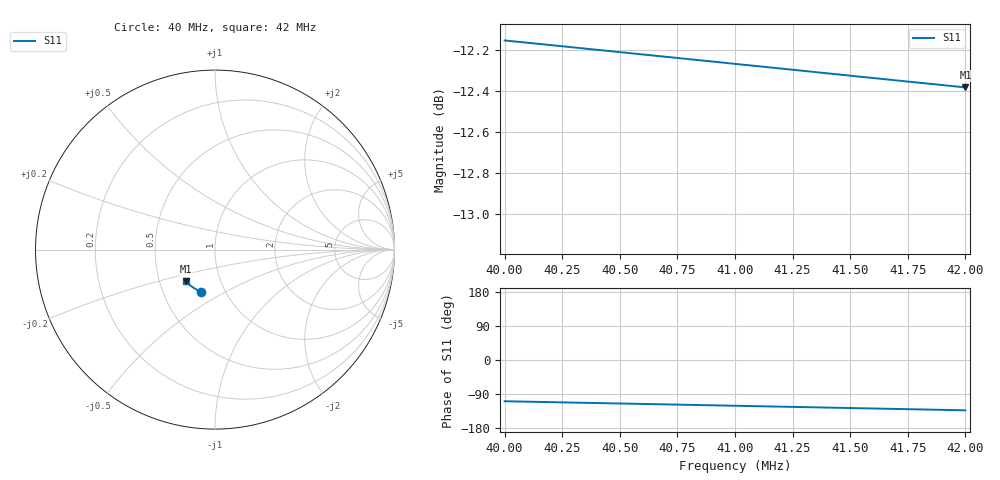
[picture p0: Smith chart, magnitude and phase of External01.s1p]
# Hz S RI R 50
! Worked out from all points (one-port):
!   9 points, 40 MHz to 42 MHz, reference 50 ohm
!   lowest |S11| = -12.4 dB at 42 MHz (marker M1), VSWR 1.63, Z = 34 - j12.7 ohm
!   |S11| at or under -10 dB: start of sweep to end of sweep
4e7  -0.0796 -0.2336
4.025e7  -0.0913 -0.2284
4.05e7  -0.1027 -0.2226
4.075e7  -0.1138 -0.2162
4.1e7  -0.1245 -0.2093
4.125e7  -0.1348 -0.2018
4.15e7  -0.1448 -0.1938
4.175e7  -0.1543 -0.1853
4.2e7  -0.1633 -0.1764
